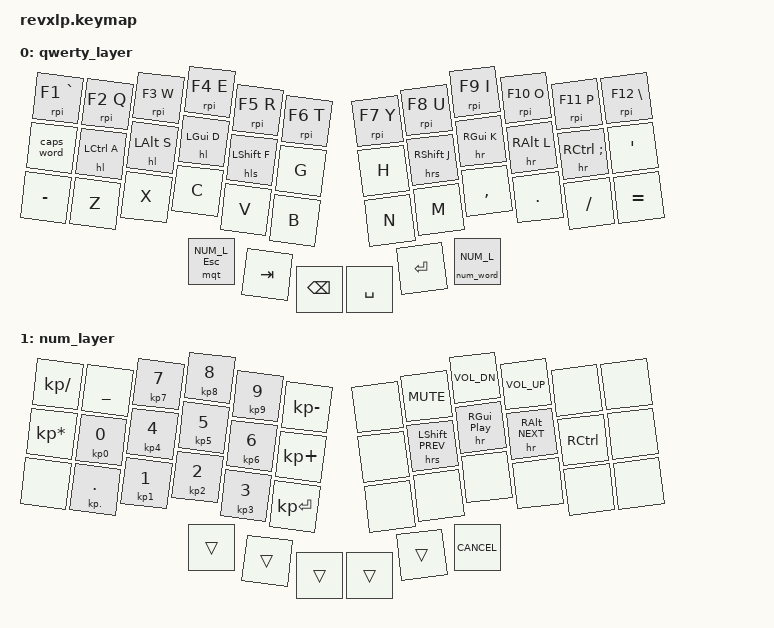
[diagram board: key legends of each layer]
/*
* Copyright (c) 2020 The ZMK Contributors
*
* SPDX-License-Identifier: MIT
*/
#ifndef LAYOUT
#define LAYOUT 0
#endif

#define QWERTY 0
#define QWERTY_FLIP 1
#define ENGRAM 2
#define ENGRAMMER 3
#define NORDRASSIL 4

#define NUM_L 1

#include <behaviors.dtsi>
#include <dt-bindings/zmk/keys.h>
#include <dt-bindings/zmk/bt.h>
#include <dt-bindings/zmk/backlight.h>
#include <dt-bindings/zmk/outputs.h>
#include "zmk-helpers/helper.h"
#include "zmk-helpers/key-labels/42.h"
#include <behaviors/num_word.dtsi>
#include "engram.dtsi"
#include "taps.dtsi"
#include "combos.dtsi"


/ {
	keymap {
		compatible = "zmk,keymap";
		
    #if LAYOUT == ENGRAM
		engram_layer {
			bindings = <
			&rpi F1 ESC &rpi F2 B    &rpi F3 Y   &rpi F4 O   &rpi F5 U    &sqlp  &dqrp   &rpi F8 L  &rpi F9 D   &rpi F10 W   &rpi F11 V &rpi F12 Z
			&habu   &hl LCTRL C  &hl LALT I  &hl LGUI E &hls LSHFT A   &cmse   &stco &hrs RSHFT H   &hr RGUI T &hr RALT S &hr RCTRL N  &kp Q
			&atti  &kp G    &kp X   &kp J   &kp K  &kp MINUS   &qmex &kp R  &kp M   &kp F   &kp P &slsh
			&caps_word &kp TAB &kp BSPC &kp SPACE &kp RETURN &num_word NUM_L
			>;
		}; 
	#elif LAYOUT == ENGRAMMER
		engrammer_layer {
			bindings = <
			&rpi F11 GRAVE &rpi F1 B &rpi F2 Y   &rpi F3 O   &mt F4 U    &rpi F5 SQT &rpi F6 SEMI  &rpi F7 L    &rpi F8 D  &rpi F9 W  &rpi F10 V &rpi F12 Z 
			&caps_word &hl LCTRL C   &hl LALT I  &hl LGUI E  &hls LSHFT A &kp COMMA &kp DOT  &hrs LSHFT H &hr RGUI T &hr RALT S &hr RCTRL N &kp Q
			&kp BSLH &kp G &kp X  	    &kp J   &kp K    &kp MINUS &kp SLASH  &kp R    &kp M  &kp F  &kp P   &kp EQUAL
			&mqt NUM_L ESC &kp TAB &kp BSPC &kp SPACE &kp RETURN &num_word NUM_L
			>;
		};
	#elif LAYOUT == NORDRASSIL 
		nordrassil_layer {
			bindings = <
			&rpi F11 GRAVE &rpi F1 Q &rpi F2 Y   &rpi F3 O   &mt F4 U    &rpi F5 SQT &rpi F6 J  &rpi F7 G    &rpi F8 N  &rpi F9 W  &rpi F10 X &rpi F12 Z 
			&caps_word &hl LCTRL H   &hl LALT I  &hl LGUI E  &hls LSHFT A &kp COMMA &kp P  &hrs LSHFT D &hr RGUI R &hr RALT S &hr RCTRL L &kp RET
			&kp BSLH &kp B &kp SEMI 	    &kp SLASH   &kp DOT    &kp MINUS &kp K  &kp C    &kp M  &kp F  &kp V   &kp EQUAL
			&mqt NUM_L ESC &kp BSPC &rpi TAB SPACE  &kp T &kp RET &num_word NUM_L
			>;
		};
	#elif LAYOUT == QWERTY_FLIP
		qwerty_flip_layer {
			bindings = <
			&rpi F1 GRAVE &rpi F2 Q  &rpi F3 W   &rpi F4 D   &rpi F5 F &rpi F6 G    &rpi F7 Y &rpi F8 J   &rpi F9 K  &rpi F10 L  &rpi F11 SEMI &rpi F12 BSLH
			&caps_word  &hl LCTRL A  &hl LALT S &hl LGUI E &hls LSHFT R &kp T   &kp H &hrs RSHFT U &hr RGUI I &hr RALT O &hr RCTRL P &kp SQT
			&kp MINUS &kp Z  &kp X    &kp C    &kp V  &kp B   &kp N &kp M  &kp COMMA    &kp DOT  &kp SLASH &kp EQUAL
			&mqt NUM_L ESC &kp TAB &kp BSPC &kp SPACE &kp RETURN &num_word NUM_L
			>;
		};
    #else
		qwerty_layer {
			bindings = <
			&rpi F1 GRAVE &rpi F2 Q   &rpi F3 W    &rpi F4 E   &rpi F5 R    &rpi F6 T &rpi F7 Y &rpi F8 U    &rpi F9 I  &rpi F10 O  &rpi F11 P  &rpi F12 BSLH
			&caps_word  &hl LCTRL A &hl LALT S &hl LGUI D  &hls LSHFT F &kp G &kp H &hrs RSHFT J &hr RGUI K &hr RALT L &hr RCTRL SEMI &kp SQT
			&kp MINUS &kp Z   &kp X  &kp C   &kp V    &kp B &kp N &kp M    &kp COMMA  &kp DOT    &kp SLASH  &kp EQUAL
			&mqt NUM_L ESC &kp TAB &kp BSPC &kp SPACE &kp RETURN &num_word NUM_L
			>;
		};
    #endif

		num_layer {
			bindings = <
			&kp KP_DIVIDE &kp UNDER   		 &mt KP_N7 N7 &mt KP_N8 N8 &mt KP_N9 N9 &kp KP_MINUS &none &kp C_MUTE &kp C_VOL_DN &kp C_VOL_UP &none &none
			&kp KP_MULTIPLY &mt KP_N0 N0   &mt KP_N4 N4 &mt KP_N5 N5 &mt KP_N6 N6 &kp KP_PLUS &none &hrs LSHFT C_PREV &hr RGUI C_PP  &hr RALT C_NEXT &kp RCTRL &none
			&none &mt KP_DOT DOT &mt KP_N1 N1 &mt KP_N2 N2 &mt KP_N3 N3 &kp KP_ENTER &none &none &none   &none   &none &none
			&trans &trans &trans &trans &trans &kp K_CANCEL
			>;
		};
	};
};

